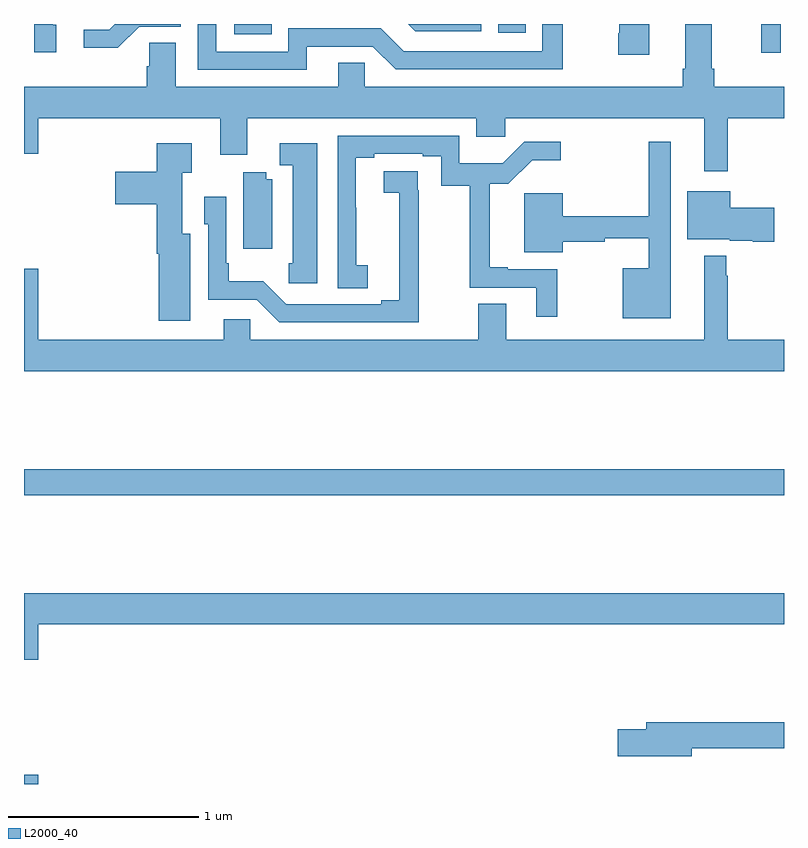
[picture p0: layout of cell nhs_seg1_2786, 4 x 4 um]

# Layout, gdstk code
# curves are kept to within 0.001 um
import gdstk
lib = gdstk.Library(unit=1e-6, precision=1e-09)
def R(c, l, rs):  # rectangles x0, y0, x1, y1
    for r in rs: c.add(gdstk.rectangle(r[:2], r[2:], *l))
def P(c, l, *ps):  # polygons
    for p in ps: c.add(gdstk.Polygon(p, *l))
L2000_40 = (2000, 40)

nhs_seg1_2786 = lib.new_cell('nhs_seg1_2786')
R(nhs_seg1_2786, L2000_40, [(261,576.199,261.076,576.247), (261,577.72,265,577.856), (264.88,580.047,264.983,580.199), (262.107,580.145,262.305,580.199), (263.496,580.152,263.642,580.199)])
P(nhs_seg1_2786, L2000_40, [(261.169,580.194),(261.15,580.194),(261.15,580.199),(261.054,580.199),(261.054,580.05),(261.169,580.05)],
  [(264.292,580.199),(264.134,580.199),(264.134,580.15),(264.127,580.15),(264.127,580.038),(264.292,580.038)],
  [(261.606,580.185),(261.825,580.185),(261.825,580.199),(261.478,580.199),(261.449,580.17),(261.315,580.17),(261.315,580.073),(261.493,580.073)],
  [(262.489,580.08),(262.836,580.08),(262.956,579.96),(263.836,579.96),(263.836,580.199),(263.727,580.199),(263.727,580.056),(262.998,580.056),(262.878,580.176),(262.392,580.176),(262.392,580.053),(262.011,580.053),(262.011,580.199),(261.915,580.199),(261.915,579.957),(262.489,579.957)],
  [(263.406,580.199),(263.022,580.199),(263.06,580.161),(263.406,580.161)],
  [(264.703,579.704),(265,579.704),(265,579.868),(264.632,579.868),(264.632,579.964),(264.619,579.964),(264.619,580.199),(264.479,580.199),(264.479,579.964),(264.467,579.964),(264.467,579.868),(262.794,579.868),(262.794,579.995),(262.655,579.995),(262.655,579.868),(261.799,579.868),(261.799,580.1),(261.66,580.1),(261.66,579.977),(261.647,579.977),(261.647,579.868),(261,579.868),(261,579.516),(261.076,579.516),(261.076,579.704),(262.034,579.704),(262.034,579.51),(262.174,579.51),(262.174,579.704),(263.381,579.704),(263.381,579.606),(263.533,579.606),(263.533,579.704),(264.581,579.704),(264.581,579.423),(264.703,579.423)],
  [(263.806,578.907),(263.545,578.907),(263.545,578.92),(263.45,578.92),(263.45,579.357),(263.549,579.357),(263.675,579.482),(263.824,579.482),(263.824,579.579),(263.634,579.579),(263.521,579.466),(263.292,579.466),(263.292,579.612),(262.65,579.612),(262.65,578.809),(262.81,578.809),(262.81,578.929),(262.749,578.929),(262.749,579.233),(262.747,579.233),(262.747,579.496),(262.843,579.496),(262.843,579.516),(263.099,579.516),(263.099,579.502),(263.196,579.502),(263.196,579.349),(263.347,579.349),(263.347,578.811),(263.696,578.811),(263.696,578.658),(263.806,578.658)],
  [(264.403,579.58),(264.289,579.58),(264.289,579.188),(263.836,579.188),(263.836,579.309),(263.633,579.309),(263.633,578.999),(263.836,578.999),(263.836,579.052),(264.056,579.052),(264.056,579.071),(264.289,579.071),(264.289,578.914),(264.152,578.914),(264.152,578.651),(264.403,578.651)],
  [(262.543,579.571),(262.347,579.571),(262.347,579.456),(262.415,579.456),(262.415,578.94),(262.393,578.94),(262.393,578.835),(262.543,578.835)],
  [(261.874,579.094),(261.832,579.094),(261.832,579.415),(261.883,579.415),(261.883,579.571),(261.698,579.571),(261.698,579.421),(261.48,579.421),(261.48,579.251),(261.698,579.251),(261.698,578.99),(261.71,578.99),(261.71,578.637),(261.874,578.637)],
  [(263.078,579.323),(263.072,579.323),(263.072,579.425),(262.893,579.425),(262.893,579.31),(262.975,579.31),(262.976,578.744),(262.88,578.744),(262.88,578.724),(262.38,578.724),(262.259,578.845),(262.078,578.845),(262.078,578.941),(262.065,578.941),(262.065,579.289),(261.948,579.289),(261.948,579.144),(261.969,579.144),(261.969,578.748),(262.224,578.748),(262.344,578.628),(263.078,578.628)],
  [(262.306,579.382),(262.274,579.382),(262.274,579.419),(262.154,579.419),(262.154,579.015),(262.306,579.015)],
  [(264.949,579.231),(264.718,579.231),(264.718,579.319),(264.491,579.319),(264.491,579.065),(264.714,579.065),(264.714,579.059),(264.836,579.059),(264.836,579.053),(264.949,579.053)],
  [(264.581,578.98),(264.581,578.536),(263.539,578.536),(263.539,578.726),(263.392,578.726),(263.392,578.536),(262.191,578.536),(262.191,578.646),(262.052,578.646),(262.052,578.536),(261.076,578.536),(261.076,578.911),(261,578.911),(261,578.372),(265,578.372),(265,578.536),(264.703,578.536),(264.703,578.873),(264.695,578.873),(264.695,578.98)],
  [(261.076,577.04),(265,577.04),(265,577.204),(261,577.204),(261,576.852),(261.076,576.852)],
  [(264.514,576.388),(265,576.388),(265,576.524),(264.275,576.524),(264.275,576.488),(264.126,576.488),(264.126,576.346),(264.514,576.346)])

lib.write_gds('nhs_seg1_2786.gds')
